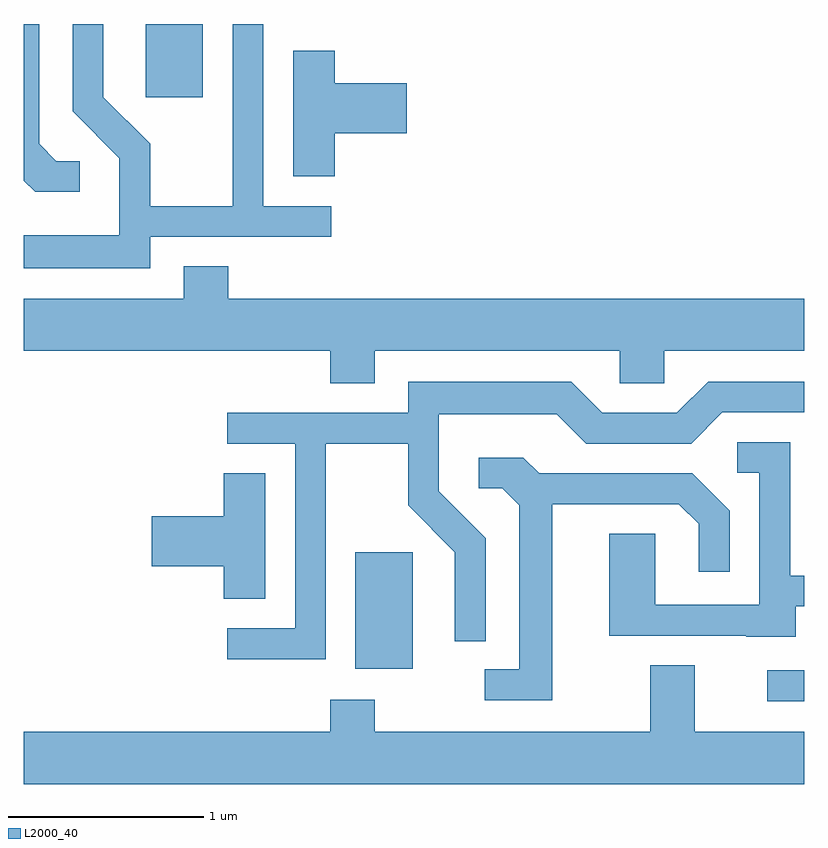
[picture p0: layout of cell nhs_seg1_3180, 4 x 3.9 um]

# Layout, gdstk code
import gdstk
lib = gdstk.Library(unit=1e-6, precision=1e-09)
def R(c, l, rs):  # rectangles x0, y0, x1, y1
    for r in rs: c.add(gdstk.rectangle(r[:2], r[2:], *l))
def P(c, l, *ps):  # polygons
    for p in ps: c.add(gdstk.Polygon(p, *l))
L2000_40 = (2000, 40)

nhs_seg1_3180 = lib.new_cell('nhs_seg1_3180')
R(nhs_seg1_3180, L2000_40, [(285.423,882.241,285.611,882.399), (283.311,882.406,283.604,883.004), (282.236,885.336,282.529,885.712)])
P(nhs_seg1_3180, L2000_40, [(282.259,884.621),(283.188,884.621),(283.188,884.779),(282.839,884.779),(282.839,885.712),(282.681,885.712),(282.681,884.779),(282.259,884.779),(282.259,885.097),(282.019,885.337),(282.019,885.712),(281.861,885.712),(281.861,885.264),(282.101,885.024),(282.101,884.629),(281.611,884.629),(281.611,884.461),(282.259,884.461)],
  [(281.898,885.009),(281.777,885.009),(281.689,885.097),(281.689,885.712),(281.611,885.712),(281.611,884.909),(281.669,884.851),(281.898,884.851)],
  [(283.204,885.151),(283.574,885.151),(283.574,885.409),(283.204,885.409),(283.204,885.574),(282.991,885.574),(282.991,884.931),(283.204,884.931)],
  [(283.409,884.036),(284.666,884.036),(284.666,883.871),(284.894,883.871),(284.894,884.036),(285.611,884.036),(285.611,884.304),(282.659,884.304),(282.659,884.469),(282.431,884.469),(282.431,884.304),(281.611,884.304),(281.611,884.036),(283.181,884.036),(283.181,883.871),(283.409,883.871)],
  [(283.159,883.561),(283.581,883.561),(283.581,883.244),(283.821,883.004),(283.821,882.548),(283.979,882.548),(283.979,883.077),(283.739,883.317),(283.739,883.711),(284.344,883.711),(284.494,883.561),(285.032,883.561),(285.192,883.721),(285.611,883.721),(285.611,883.879),(285.119,883.879),(284.959,883.719),(284.577,883.719),(284.417,883.879),(283.581,883.879),(283.581,883.719),(282.653,883.719),(282.653,883.561),(283.001,883.561),(283.001,882.614),(282.653,882.614),(282.653,882.456),(283.159,882.456)],
  [(285.569,882.726),(285.611,882.726),(285.611,882.884),(285.539,882.884),(285.539,883.569),(285.268,883.569),(285.268,883.411),(285.381,883.411),(285.381,882.734),(284.849,882.734),(284.849,883.099),(284.611,883.099),(284.611,882.576),(285.315,882.576),(285.315,882.571),(285.569,882.571)],
  [(284.319,883.251),(284.969,883.251),(285.071,883.149),(285.071,882.903),(285.229,882.903),(285.229,883.217),(285.037,883.409),(284.252,883.409),(284.172,883.489),(283.943,883.489),(283.943,883.331),(284.064,883.331),(284.151,883.244),(284.151,882.404),(283.973,882.404),(283.973,882.246),(284.319,882.246)],
  [(282.849,883.409),(282.636,883.409),(282.636,883.189),(282.266,883.189),(282.266,882.931),(282.636,882.931),(282.636,882.766),(282.849,882.766)],
  [(285.611,882.084),(285.049,882.084),(285.049,882.424),(284.821,882.424),(284.821,882.084),(283.409,882.084),(283.409,882.249),(283.181,882.249),(283.181,882.084),(281.611,882.084),(281.611,881.816),(285.611,881.816)])

lib.write_gds('nhs_seg1_3180.gds')
